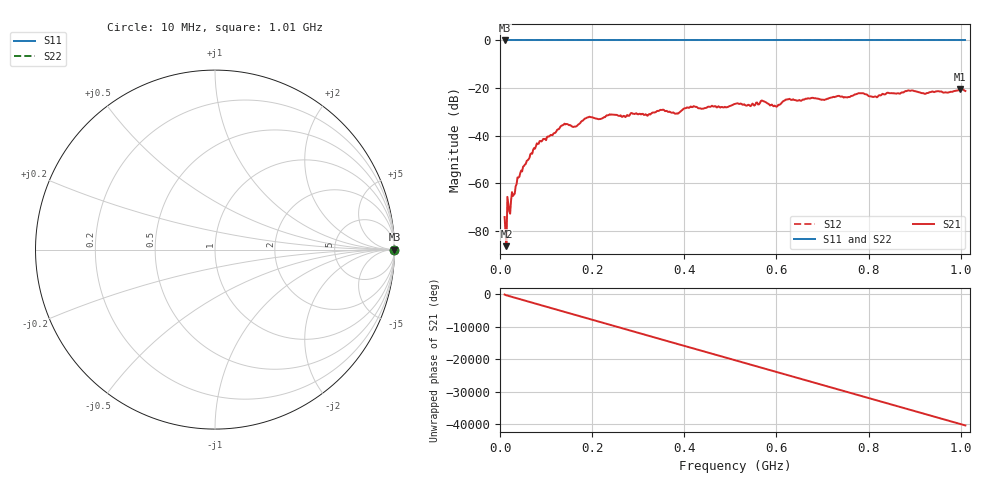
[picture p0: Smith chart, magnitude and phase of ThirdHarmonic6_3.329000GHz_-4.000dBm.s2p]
! 8/17/2025 10:27:02 AM
! C:\ANRITSUVNA\TEMP\TEMP.S2P
! CHANNEL.1
! TR.MEASUREMENT
! RAW.DATA
! RF.CORRECTION.OFF
! AVERAGING.OFF
! IF.BANDWIDTH: 5KHZ
! SWEEPTYPE:  FREQ.SWEEP(Linear)
! Reference Plane Port Info
! PORT:  PORT1  PORT2
! DISTANCE:  0  m  0  m
! TIME:  0  s  0  s
! PHASE.OFFSET:  0  deg.  0  deg.
! LOSS:  0  dB  0  dB
! REF.LOSS:  0  dB  0  dB
! REF.FREQ:  0  Hz  0  Hz
! Power Info
! POWER:  -20  dBm  -20  dBm
! EFF.POWER:  -20  dBm  -20  dBm
! SOURCE.ATTEN:  0  dB  0  dB
! TEST.ATTEN:  0  dB  0  dB
# GHZ S RI R 50.0
! FREQ.GHZ  S11RE  S11IM  S21RE  S21IM  S12RE  S12IM  S22RE  S22IM
!; PortSelection: Port_12
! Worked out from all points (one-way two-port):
!   501 points, 10 MHz to 1.01 GHz, reference 50 ohm
!   highest |S21| = -20.38 dB at 998 MHz (marker M1); lowest = -86.5 dB at 14 MHz (marker M2)
!   lowest |S11| = 0.0 dB at 10 MHz (marker M3)
!   |S11| at or under -10 dB: nowhere
!   |S22| runs from 0.0 to 0.0 dB; largest |S21 - S12| = 1.1
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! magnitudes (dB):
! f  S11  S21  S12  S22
! 10 MHz  0.0  -74.2  0.0  0.0
! 14 MHz  0.0  -86.5  0.0  0.0
! 42 MHz  0.0  -57.3  0.0  0.0
! 82 MHz  0.0  -43.5  0.0  0.0
! 136 MHz  0.0  -35.6  0.0  0.0
! 162 MHz  0.0  -36.2  0.0  0.0
! 178 MHz  0.0  -33.8  0.0  0.0
! 192 MHz  0.0  -32.3  0.0  0.0
! 322 MHz  0.0  -31.3  0.0  0.0
! 344 MHz  0.0  -29.7  0.0  0.0
! 384 MHz  0.0  -30.6  0.0  0.0
! 418 MHz  0.0  -28.0  0.0  0.0
! 510 MHz  0.0  -26.7  0.0  0.0
! 570 MHz  0.0  -25.4  0.0  0.0
! 598 MHz  0.0  -27.6  0.0  0.0
! 624 MHz  0.0  -24.7  0.0  0.0
! 678 MHz  0.0  -24.1  0.0  0.0
! 782 MHz  0.0  -22.2  0.0  0.0
! 814 MHz  0.0  -23.5  0.0  0.0
! 844 MHz  0.0  -22.1  0.0  0.0
! 998 MHz  0.0  -20.4  0.0  0.0
! 1.01 GHz  0.0  -21.2  0.0  0.0
